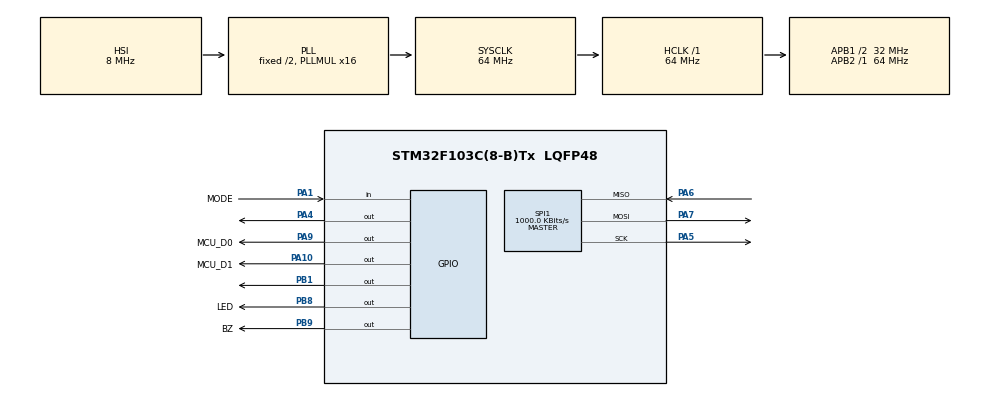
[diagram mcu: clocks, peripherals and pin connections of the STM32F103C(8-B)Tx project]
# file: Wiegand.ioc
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Mcu.Family=STM32F1
Mcu.Name=STM32F103C(8-B)Tx
Mcu.Package=LQFP48
NVIC.PriorityGroup=NVIC_PRIORITYGROUP_4
PA1.GPIO_Label=MODE
PA1.Signal=GPIO_Input
PA10.GPIO_Label=MCU_D1
PA10.GPIO_PuPd=GPIO_PULLUP
PA10.PinState=GPIO_PIN_SET
PA10.Signal=GPIO_Output
PA13.Mode=Serial_Wire
PA13.Signal=SYS_JTMS-SWDIO
PA14.Mode=Serial_Wire
PA14.Signal=SYS_JTCK-SWCLK
PA4.Signal=GPIO_Output
PA5.Mode=Full_Duplex_Master
PA5.Signal=SPI1_SCK
PA6.Mode=Full_Duplex_Master
PA6.Signal=SPI1_MISO
PA7.Mode=Full_Duplex_Master
PA7.Signal=SPI1_MOSI
PA9.GPIO_Label=MCU_D0
PA9.GPIO_PuPd=GPIO_PULLUP
PA9.PinState=GPIO_PIN_SET
PA9.Signal=GPIO_Output
PB1.GPIO_PuPd=GPIO_PULLUP
PB1.PinState=GPIO_PIN_SET
PB1.Signal=GPIO_Output
PB8.GPIO_Label=LED
PB8.GPIO_PuPd=GPIO_PULLUP
PB8.PinState=GPIO_PIN_SET
PB8.Signal=GPIO_Output
PB9.GPIO_Label=BZ
PB9.GPIO_PuPd=GPIO_PULLDOWN
PB9.Signal=GPIO_Output
ProjectManager.HeapSize=0x200
ProjectManager.StackSize=0x400
ProjectManager.TargetToolchain=STM32CubeIDE
RCC.AHBFreq_Value=64000000
RCC.APB1CLKDivider=RCC_HCLK_DIV2
RCC.APB1Freq_Value=32000000
RCC.APB1TimFreq_Value=64000000
RCC.APB2Freq_Value=64000000
RCC.APB2TimFreq_Value=64000000
RCC.HCLKFreq_Value=64000000
RCC.PLLMUL=RCC_PLL_MUL16
RCC.SYSCLKFreq_VALUE=64000000
RCC.SYSCLKSource=RCC_SYSCLKSOURCE_PLLCLK
RCC.USBFreq_Value=64000000
SPI1.BaudRatePrescaler=SPI_BAUDRATEPRESCALER_64
SPI1.CalculateBaudRate=1000.0 KBits/s
SPI1.Direction=SPI_DIRECTION_2LINES
SPI1.Mode=SPI_MODE_MASTER
SPI1.VirtualType=VM_MASTER
board=custom

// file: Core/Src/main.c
/* USER CODE BEGIN Header */
/**
  ******************************************************************************
  * @file           : main.c
  * @brief          : Main program body
  ******************************************************************************
  * @attention
  *
  * Copyright (c) 2025 STMicroelectronics.
  * All rights reserved.
  *
  * This software is licensed under terms that can be found in the LICENSE file
  * in the root directory of this software component.
  * If no LICENSE file comes with this software, it is provided AS-IS.
  *
  ******************************************************************************
  */
/* USER CODE END Header */
#include "main.h"

/* USER CODE BEGIN Includes */
#include "MFRC522.h"
#include "string.h"
/* USER CODE END Includes */

SPI_HandleTypeDef hspi1;

void SystemClock_Config(void);
static void MX_GPIO_Init(void);
static void MX_SPI1_Init(void);

int main(void)
{

  /* MCU Configuration--------------------------------------------------------*/

  /* Reset of all peripherals, Initializes the Flash interface and the Systick. */
  HAL_Init();

  /* Configure the system clock */
  SystemClock_Config();

  /* Initialize all configured peripherals */
  MX_GPIO_Init();
  MX_SPI1_Init();
  /* USER CODE BEGIN 2 */
  MFRC522_Init();
  Wiegand_Init();

  uint8_t status;
  uint8_t cardType[2];
  uint8_t uid[4];
  /* USER CODE END 2 */

  /* Infinite loop */
  while (1)
  {

    /* USER CODE BEGIN 3 */
	status = MFRC522_Request(PICC_REQIDL, cardType);
    // Chống va chạm, đọc UID
    status = MFRC522_Anticoll(uid);
    if (status == MI_OK)
    {
		HAL_GPIO_WritePin(BZ_GPIO_Port, BZ_Pin, 1);
		HAL_GPIO_WritePin(LED_GPIO_Port, LED_Pin, 0);
		HAL_Delay(100);
		HAL_GPIO_WritePin(BZ_GPIO_Port, BZ_Pin, 0);
		if(HAL_GPIO_ReadPin(MODE_GPIO_Port, MODE_Pin) == 1)
		{
			// 26 bit mode
			Wiegand_Send26_FromUID(uid);
		}
		else
		{
			Wiegand_Send34_FromUID(uid);
		}
		HAL_Delay(500);
    }
  }
  /* USER CODE END 3 */
}

void SystemClock_Config(void)
{
  RCC_OscInitTypeDef RCC_OscInitStruct = {0};
  RCC_ClkInitTypeDef RCC_ClkInitStruct = {0};

  /** Initializes the RCC Oscillators according to the specified parameters
  * in the RCC_OscInitTypeDef structure.
  */
  RCC_OscInitStruct.OscillatorType = RCC_OSCILLATORTYPE_HSI;
  RCC_OscInitStruct.HSIState = RCC_HSI_ON;
  RCC_OscInitStruct.HSICalibrationValue = RCC_HSICALIBRATION_DEFAULT;
  RCC_OscInitStruct.PLL.PLLState = RCC_PLL_ON;
  RCC_OscInitStruct.PLL.PLLSource = RCC_PLLSOURCE_HSI_DIV2;
  RCC_OscInitStruct.PLL.PLLMUL = RCC_PLL_MUL16;
  if (HAL_RCC_OscConfig(&RCC_OscInitStruct) != HAL_OK)
  {
    Error_Handler();
  }

  /** Initializes the CPU, AHB and APB buses clocks
  */
  RCC_ClkInitStruct.ClockType = RCC_CLOCKTYPE_HCLK|RCC_CLOCKTYPE_SYSCLK
                              |RCC_CLOCKTYPE_PCLK1|RCC_CLOCKTYPE_PCLK2;
  RCC_ClkInitStruct.SYSCLKSource = RCC_SYSCLKSOURCE_PLLCLK;
  RCC_ClkInitStruct.AHBCLKDivider = RCC_SYSCLK_DIV1;
  RCC_ClkInitStruct.APB1CLKDivider = RCC_HCLK_DIV2;
  RCC_ClkInitStruct.APB2CLKDivider = RCC_HCLK_DIV1;

  if (HAL_RCC_ClockConfig(&RCC_ClkInitStruct, FLASH_LATENCY_2) != HAL_OK)
  {
    Error_Handler();
  }
}

static void MX_SPI1_Init(void)
{

  /* SPI1 parameter configuration*/
  hspi1.Instance = SPI1;
  hspi1.Init.Mode = SPI_MODE_MASTER;
  hspi1.Init.Direction = SPI_DIRECTION_2LINES;
  hspi1.Init.DataSize = SPI_DATASIZE_8BIT;
  hspi1.Init.CLKPolarity = SPI_POLARITY_LOW;
  hspi1.Init.CLKPhase = SPI_PHASE_1EDGE;
  hspi1.Init.NSS = SPI_NSS_SOFT;
  hspi1.Init.BaudRatePrescaler = SPI_BAUDRATEPRESCALER_64;
  hspi1.Init.FirstBit = SPI_FIRSTBIT_MSB;
  hspi1.Init.TIMode = SPI_TIMODE_DISABLE;
  hspi1.Init.CRCCalculation = SPI_CRCCALCULATION_DISABLE;
  hspi1.Init.CRCPolynomial = 10;
  if (HAL_SPI_Init(&hspi1) != HAL_OK)
  {
    Error_Handler();
  }

}

static void MX_GPIO_Init(void)
{
  GPIO_InitTypeDef GPIO_InitStruct = {0};

  /* GPIO Ports Clock Enable */
  __HAL_RCC_GPIOA_CLK_ENABLE();
  __HAL_RCC_GPIOB_CLK_ENABLE();

  /*Configure GPIO pin Output Level */
  HAL_GPIO_WritePin(GPIOA, GPIO_PIN_4, GPIO_PIN_RESET);

  /*Configure GPIO pin Output Level */
  HAL_GPIO_WritePin(GPIOB, GPIO_PIN_1|LED_Pin, GPIO_PIN_SET);

  /*Configure GPIO pin Output Level */
  HAL_GPIO_WritePin(GPIOA, MCU_D0_Pin|MCU_D1_Pin, GPIO_PIN_SET);

  /*Configure GPIO pin Output Level */
  HAL_GPIO_WritePin(BZ_GPIO_Port, BZ_Pin, GPIO_PIN_RESET);

  /*Configure GPIO pin : MODE_Pin */
  GPIO_InitStruct.Pin = MODE_Pin;
  GPIO_InitStruct.Mode = GPIO_MODE_INPUT;
  GPIO_InitStruct.Pull = GPIO_NOPULL;
  HAL_GPIO_Init(MODE_GPIO_Port, &GPIO_InitStruct);

  /*Configure GPIO pin : PA4 */
  GPIO_InitStruct.Pin = GPIO_PIN_4;
  GPIO_InitStruct.Mode = GPIO_MODE_OUTPUT_PP;
  GPIO_InitStruct.Pull = GPIO_NOPULL;
  GPIO_InitStruct.Speed = GPIO_SPEED_FREQ_LOW;
  HAL_GPIO_Init(GPIOA, &GPIO_InitStruct);

  /*Configure GPIO pins : PB1 LED_Pin */
  GPIO_InitStruct.Pin = GPIO_PIN_1|LED_Pin;
  GPIO_InitStruct.Mode = GPIO_MODE_OUTPUT_PP;
  GPIO_InitStruct.Pull = GPIO_PULLUP;
  GPIO_InitStruct.Speed = GPIO_SPEED_FREQ_LOW;
  HAL_GPIO_Init(GPIOB, &GPIO_InitStruct);

  /*Configure GPIO pins : MCU_D0_Pin MCU_D1_Pin */
  GPIO_InitStruct.Pin = MCU_D0_Pin|MCU_D1_Pin;
  GPIO_InitStruct.Mode = GPIO_MODE_OUTPUT_PP;
  GPIO_InitStruct.Pull = GPIO_PULLUP;
  GPIO_InitStruct.Speed = GPIO_SPEED_FREQ_LOW;
  HAL_GPIO_Init(GPIOA, &GPIO_InitStruct);

  /*Configure GPIO pin : BZ_Pin */
  GPIO_InitStruct.Pin = BZ_Pin;
  GPIO_InitStruct.Mode = GPIO_MODE_OUTPUT_PP;
  GPIO_InitStruct.Pull = GPIO_PULLDOWN;
  GPIO_InitStruct.Speed = GPIO_SPEED_FREQ_LOW;
  HAL_GPIO_Init(BZ_GPIO_Port, &GPIO_InitStruct);

}

void Error_Handler(void)
{
  __disable_irq();
  while (1)
  {
  }
}
